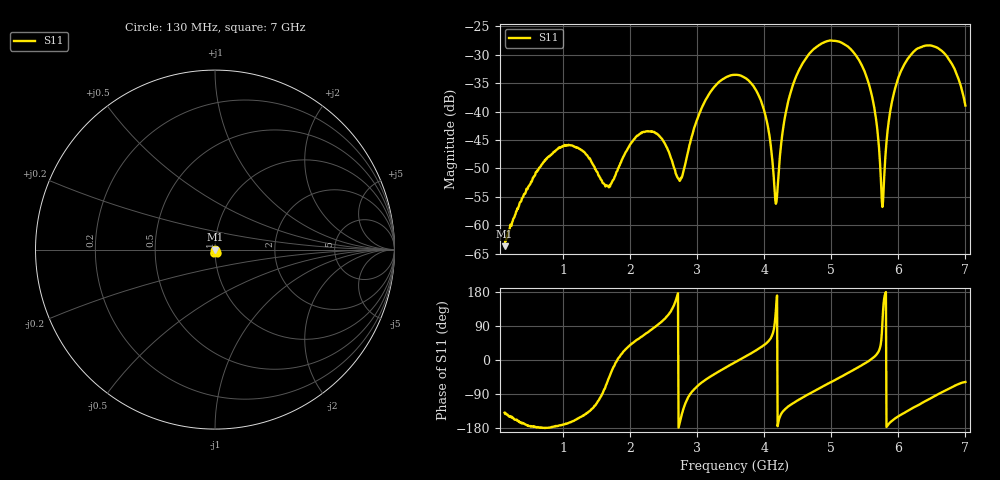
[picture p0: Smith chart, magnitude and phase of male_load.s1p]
# Hz S RI R 50.000000
! Metas.Vna.Tools, 2.8.8664.20301
! Metas.Vna.Data, 2.8.8664.20285
! Created: UTC 2024.02.09 20:23:54
! FREQ  re:S1,1  im:S1,1
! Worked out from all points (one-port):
!   801 points, 130 MHz to 7 GHz, reference 50 ohm
!   lowest |S11| = -63.7 dB at 130 MHz (marker M1), VSWR 1.00, Z = 50 - j0.0427 ohm
!   |S11| at or under -10 dB: start of sweep to end of sweep
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1.3e8  -0.000494 -0.000428
5.851375e8  -0.00276 -0.000165
9.8875e8  -0.00486 -0.000794
1.2979e9  -0.00378 -0.00241
1.649988e9  0.000991 -0.00198
1.8475e9  0.00333 0.000527
2.079362e9  0.00378 0.00451
2.3284e9  0.00099 0.00656
2.517325e9  -0.00166 0.00498
2.70625e9  -0.00261 0.000381
2.77495e9  -0.00208 -0.00167
3.1528e9  0.00883 -0.0101
3.565e9  0.0209 -0.00218
3.960025e9  0.00992 0.0069
4.063075e9  0.00453 0.00528
4.174712e9  -0.00105 0.00113
4.294938e9  -0.00542 -0.00583
4.42375e9  -0.007 -0.0152
4.827362e9  0.0105 -0.0372
5.2825e9  0.0307 -0.0185
5.600238e9  0.0142 0.000659
5.677525e9  0.00749 0.00199
5.7634e9  -0.000257 0.00142
5.909388e9  -0.0118 -0.00428
6.14125e9  -0.0204 -0.0209
6.62215e9  0.00149 -0.0351
6.82825e9  0.00881 -0.0227
7e9  0.00599 -0.00959
